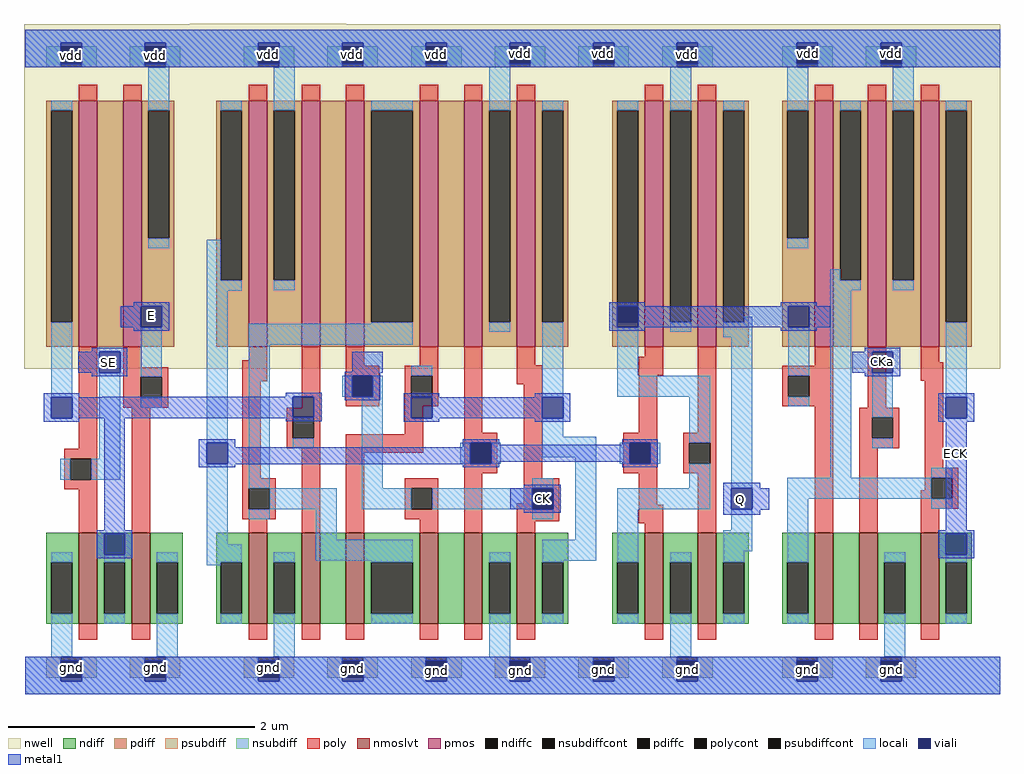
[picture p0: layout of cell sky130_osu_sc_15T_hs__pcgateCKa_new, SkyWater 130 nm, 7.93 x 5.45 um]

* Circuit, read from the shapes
.subckt sky130_osu_sc_15T_hs__pcgateCKa_new SE E CK ECK Q CKa
XM1 n1 SE gnd gnd sky130_fd_pr__nfet_01v8_lvt w=0.74 l=0.15
XM2 gnd E n1 gnd sky130_fd_pr__nfet_01v8_lvt w=0.74 l=0.15
XM3 gnd n2 n3 gnd sky130_fd_pr__nfet_01v8_lvt w=0.74 l=0.15
XM4 n4 n1 gnd gnd sky130_fd_pr__nfet_01v8_lvt w=0.74 l=0.15
XM5 n2 n5 n4 gnd sky130_fd_pr__nfet_01v8_lvt w=0.74 l=0.15
XM6 n6 CK n2 gnd sky130_fd_pr__nfet_01v8_lvt w=0.74 l=0.15
XM7 gnd n3 n6 gnd sky130_fd_pr__nfet_01v8_lvt w=0.74 l=0.15
XM8 n5 CK gnd gnd sky130_fd_pr__nfet_01v8_lvt w=0.74 l=0.15
XM9 gnd n3 n7 gnd sky130_fd_pr__nfet_01v8_lvt w=0.74 l=0.15
XM10 Q n7 gnd gnd sky130_fd_pr__nfet_01v8_lvt w=0.74 l=0.15
XM11 n8 n7 n9 gnd sky130_fd_pr__nfet_01v8_lvt w=0.74 l=0.15
XM12 gnd CKa n8 gnd sky130_fd_pr__nfet_01v8_lvt w=0.74 l=0.15
XM13 ECK n9 gnd gnd sky130_fd_pr__nfet_01v8_lvt w=0.74 l=0.15
XM14 n10 SE n1 vdd sky130_fd_pr__pfet_01v8 w=2 l=0.15
XM15 vdd E n10 vdd sky130_fd_pr__pfet_01v8 w=2 l=0.15
XM16 vdd n2 n3 vdd sky130_fd_pr__pfet_01v8 w=2 l=0.15
XM17 n11 n1 vdd vdd sky130_fd_pr__pfet_01v8 w=2 l=0.15
XM18 n2 CK n11 vdd sky130_fd_pr__pfet_01v8 w=2 l=0.15
XM19 n12 n5 n2 vdd sky130_fd_pr__pfet_01v8 w=2 l=0.15
XM20 vdd n3 n12 vdd sky130_fd_pr__pfet_01v8 w=2 l=0.15
XM21 n5 CK vdd vdd sky130_fd_pr__pfet_01v8 w=2 l=0.15
XM22 vdd n3 n7 vdd sky130_fd_pr__pfet_01v8 w=2 l=0.15
XM23 Q n7 vdd vdd sky130_fd_pr__pfet_01v8 w=2 l=0.15
XM24 n9 n7 vdd vdd sky130_fd_pr__pfet_01v8 w=2 l=0.15
XM25 vdd CKa n9 vdd sky130_fd_pr__pfet_01v8 w=2 l=0.15
XM26 ECK n9 vdd vdd sky130_fd_pr__pfet_01v8 w=2 l=0.15
.ends

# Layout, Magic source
magic
tech sky130A
magscale 1 2
<< nwell >>
rect 0 1089 255 1090
rect -269 529 1317 1089
<< nmoslvt >>
rect -180 115 -150 263
rect -94 115 -64 263
rect 96 115 126 263
rect 182 115 212 263
rect 254 115 284 263
rect 374 115 404 263
rect 446 115 476 263
rect 532 115 562 263
rect 740 115 770 263
rect 826 115 856 263
rect 1016 115 1046 263
rect 1088 115 1118 263
rect 1188 115 1218 263
<< pmos >>
rect -180 565 -150 965
rect -108 565 -78 965
rect 96 565 126 965
rect 182 565 212 965
rect 254 565 284 965
rect 374 565 404 965
rect 446 565 476 965
rect 532 565 562 965
rect 740 565 770 965
rect 826 565 856 965
rect 1016 565 1046 965
rect 1102 565 1132 965
rect 1188 565 1218 965
<< ndiff >>
rect -233 215 -180 263
rect -233 131 -225 215
rect -191 131 -180 215
rect -233 115 -180 131
rect -150 215 -94 263
rect -150 131 -139 215
rect -105 131 -94 215
rect -150 115 -94 131
rect -64 215 -11 263
rect -64 131 -53 215
rect -19 131 -11 215
rect -64 115 -11 131
rect 43 215 96 263
rect 43 131 51 215
rect 85 131 96 215
rect 43 115 96 131
rect 126 215 182 263
rect 126 131 137 215
rect 171 131 182 215
rect 126 115 182 131
rect 212 115 254 263
rect 284 215 374 263
rect 284 131 295 215
rect 363 131 374 215
rect 284 115 374 131
rect 404 115 446 263
rect 476 215 532 263
rect 476 131 487 215
rect 521 131 532 215
rect 476 115 532 131
rect 562 215 615 263
rect 562 131 573 215
rect 607 131 615 215
rect 562 115 615 131
rect 687 215 740 263
rect 687 131 695 215
rect 729 131 740 215
rect 687 115 740 131
rect 770 215 826 263
rect 770 131 781 215
rect 815 131 826 215
rect 770 115 826 131
rect 856 215 909 263
rect 856 131 867 215
rect 901 131 909 215
rect 856 115 909 131
rect 963 215 1016 263
rect 963 131 971 215
rect 1005 131 1016 215
rect 963 115 1016 131
rect 1046 115 1088 263
rect 1118 215 1188 263
rect 1118 131 1129 215
rect 1163 131 1188 215
rect 1118 115 1188 131
rect 1218 215 1271 263
rect 1218 131 1229 215
rect 1263 131 1271 215
rect 1218 115 1271 131
<< pdiff >>
rect -233 949 -180 965
rect -233 605 -225 949
rect -191 605 -180 949
rect -233 565 -180 605
rect -150 565 -108 965
rect -78 949 -25 965
rect -78 741 -67 949
rect -33 741 -25 949
rect -78 565 -25 741
rect 43 949 96 965
rect 43 673 51 949
rect 85 673 96 949
rect 43 565 96 673
rect 126 949 182 965
rect 126 673 137 949
rect 171 673 182 949
rect 126 565 182 673
rect 212 565 254 965
rect 284 949 374 965
rect 284 605 295 949
rect 363 605 374 949
rect 284 565 374 605
rect 404 565 446 965
rect 476 949 532 965
rect 476 605 487 949
rect 521 605 532 949
rect 476 565 532 605
rect 562 949 615 965
rect 562 605 573 949
rect 607 605 615 949
rect 562 565 615 605
rect 687 949 740 965
rect 687 605 695 949
rect 729 605 740 949
rect 687 565 740 605
rect 770 949 826 965
rect 770 605 781 949
rect 815 605 826 949
rect 770 565 826 605
rect 856 949 909 965
rect 856 605 867 949
rect 901 605 909 949
rect 856 565 909 605
rect 963 949 1016 965
rect 963 741 971 949
rect 1005 741 1016 949
rect 963 565 1016 741
rect 1046 949 1102 965
rect 1046 673 1057 949
rect 1091 673 1102 949
rect 1046 565 1102 673
rect 1132 949 1188 965
rect 1132 673 1143 949
rect 1177 673 1188 949
rect 1132 565 1188 673
rect 1218 949 1271 965
rect 1218 605 1229 949
rect 1263 605 1271 949
rect 1218 565 1271 605
<< ndiffc >>
rect -225 131 -191 215
rect -139 131 -105 215
rect -53 131 -19 215
rect 51 131 85 215
rect 137 131 171 215
rect 295 131 363 215
rect 487 131 521 215
rect 573 131 607 215
rect 695 131 729 215
rect 781 131 815 215
rect 867 131 901 215
rect 971 131 1005 215
rect 1129 131 1163 215
rect 1229 131 1263 215
<< pdiffc >>
rect -225 605 -191 949
rect -67 741 -33 949
rect 51 673 85 949
rect 137 673 171 949
rect 295 605 363 949
rect 487 605 521 949
rect 573 605 607 949
rect 695 605 729 949
rect 781 605 815 949
rect 867 605 901 949
rect 971 741 1005 949
rect 1057 673 1091 949
rect 1143 673 1177 949
rect 1229 605 1263 949
<< psubdiff >>
rect -233 27 -209 61
rect -175 27 -151 61
rect -97 27 -73 61
rect -39 27 -15 61
rect 88 27 112 61
rect 146 27 170 61
rect 224 27 248 61
rect 282 27 306 61
rect 360 27 384 61
rect 418 27 442 61
rect 496 27 520 61
rect 554 27 578 61
rect 632 27 656 61
rect 690 27 714 61
rect 768 27 792 61
rect 826 27 850 61
rect 963 27 987 61
rect 1021 27 1045 61
rect 1099 27 1123 61
rect 1157 27 1181 61
<< nsubdiff >>
rect -233 1019 -209 1053
rect -175 1019 -151 1053
rect -97 1019 -73 1053
rect -39 1019 -15 1053
rect 88 1019 112 1053
rect 146 1019 170 1053
rect 224 1019 248 1053
rect 282 1019 306 1053
rect 360 1019 384 1053
rect 418 1019 442 1053
rect 496 1019 520 1053
rect 554 1019 578 1053
rect 632 1019 656 1053
rect 690 1019 714 1053
rect 768 1019 792 1053
rect 826 1019 850 1053
rect 963 1019 987 1053
rect 1021 1019 1045 1053
rect 1099 1019 1123 1053
rect 1157 1019 1181 1053
<< psubdiffcont >>
rect -209 27 -175 61
rect -73 27 -39 61
rect 112 27 146 61
rect 248 27 282 61
rect 384 27 418 61
rect 520 27 554 61
rect 656 27 690 61
rect 792 27 826 61
rect 987 27 1021 61
rect 1123 27 1157 61
<< nsubdiffcont >>
rect -209 1019 -175 1053
rect -73 1019 -39 1053
rect 112 1019 146 1053
rect 248 1019 282 1053
rect 384 1019 418 1053
rect 520 1019 554 1053
rect 656 1019 690 1053
rect 792 1019 826 1053
rect 987 1019 1021 1053
rect 1123 1019 1157 1053
<< poly >>
rect -180 965 -150 991
rect -108 965 -78 991
rect 96 965 126 991
rect 182 965 212 991
rect 254 965 284 991
rect 374 965 404 991
rect 446 965 476 991
rect 532 965 562 991
rect 740 965 770 991
rect 826 965 856 991
rect 1016 965 1046 991
rect 1102 965 1132 991
rect 1188 965 1218 991
rect -180 399 -150 565
rect -108 532 -78 565
rect 96 543 126 565
rect -108 516 -35 532
rect -108 482 -79 516
rect -45 482 -35 516
rect -108 466 -35 482
rect 86 509 126 543
rect -204 383 -150 399
rect -204 349 -194 383
rect -160 349 -150 383
rect -204 333 -150 349
rect -180 263 -150 333
rect -94 263 -64 466
rect 86 351 116 509
rect 182 466 212 565
rect 254 534 284 565
rect 374 534 404 565
rect 254 518 308 534
rect 254 484 264 518
rect 298 484 308 518
rect 254 468 308 484
rect 350 518 404 534
rect 350 484 360 518
rect 394 484 404 518
rect 350 468 404 484
rect 158 450 212 466
rect 158 416 168 450
rect 202 416 212 450
rect 350 423 380 468
rect 158 400 212 416
rect 86 335 140 351
rect 86 301 96 335
rect 130 301 140 335
rect 86 285 140 301
rect 96 263 126 285
rect 182 263 212 400
rect 254 393 380 423
rect 446 425 476 565
rect 532 535 562 565
rect 740 549 770 565
rect 532 504 573 535
rect 446 409 500 425
rect 254 263 284 393
rect 446 375 456 409
rect 490 375 500 409
rect 446 359 500 375
rect 350 335 404 351
rect 350 301 360 335
rect 394 301 404 335
rect 350 285 404 301
rect 374 263 404 285
rect 446 263 476 359
rect 543 351 573 504
rect 730 519 770 549
rect 730 425 760 519
rect 826 425 856 565
rect 1016 534 1046 565
rect 963 518 1046 534
rect 963 484 973 518
rect 1007 484 1046 518
rect 963 468 1046 484
rect 705 409 760 425
rect 705 375 715 409
rect 749 375 760 409
rect 705 359 760 375
rect 802 409 856 425
rect 802 375 812 409
rect 846 375 856 409
rect 802 359 856 375
rect 543 335 601 351
rect 543 311 557 335
rect 532 301 557 311
rect 591 301 601 335
rect 532 281 601 301
rect 730 308 760 359
rect 532 263 562 281
rect 730 278 770 308
rect 740 263 770 278
rect 826 263 856 359
rect 1016 263 1046 468
rect 1102 466 1132 565
rect 1188 540 1218 565
rect 1188 510 1225 540
rect 1088 450 1153 466
rect 1088 416 1109 450
rect 1143 416 1153 450
rect 1088 400 1153 416
rect 1088 263 1118 400
rect 1195 368 1225 510
rect 1195 352 1249 368
rect 1195 332 1205 352
rect 1188 318 1205 332
rect 1239 318 1249 352
rect 1188 302 1249 318
rect 1188 263 1218 302
rect -180 89 -150 115
rect -94 89 -64 115
rect 96 89 126 115
rect 182 89 212 115
rect 254 89 284 115
rect 374 89 404 115
rect 446 89 476 115
rect 532 89 562 115
rect 740 89 770 115
rect 826 89 856 115
rect 1016 89 1046 115
rect 1088 89 1118 115
rect 1188 89 1218 115
<< polycont >>
rect -79 482 -45 516
rect -194 349 -160 383
rect 264 484 298 518
rect 360 484 394 518
rect 168 416 202 450
rect 96 301 130 335
rect 456 375 490 409
rect 360 301 394 335
rect 973 484 1007 518
rect 715 375 749 409
rect 812 375 846 409
rect 557 301 591 335
rect 1109 416 1143 450
rect 1205 318 1239 352
<< locali >>
rect -267 1059 1317 1080
rect -267 1019 -209 1059
rect -175 1019 -73 1059
rect -39 1019 112 1059
rect 146 1019 248 1059
rect 282 1019 384 1059
rect 418 1019 520 1059
rect 554 1019 656 1059
rect 690 1019 792 1059
rect 826 1019 987 1059
rect 1021 1019 1123 1059
rect 1157 1019 1317 1059
rect -225 949 -191 965
rect -67 949 -33 1019
rect -67 725 -33 741
rect 51 949 85 965
rect 28 673 51 739
rect 28 656 85 673
rect 137 949 171 1019
rect 137 657 171 673
rect 295 949 363 965
rect -225 483 -191 605
rect -147 383 -113 523
rect -79 516 -45 597
rect -79 466 -45 482
rect -210 349 -194 383
rect -160 349 -113 383
rect 28 409 62 656
rect 295 602 363 605
rect -225 215 -191 231
rect -225 61 -191 131
rect 28 244 62 375
rect 96 568 363 602
rect 487 949 521 1019
rect 487 589 521 605
rect 573 949 607 965
rect 96 335 130 568
rect 360 518 394 534
rect 248 484 264 518
rect 298 484 314 518
rect 168 400 202 416
rect 280 335 314 484
rect 360 483 394 484
rect 573 483 607 605
rect 695 949 729 965
rect 695 518 729 597
rect 781 949 815 1019
rect 781 589 815 605
rect 867 949 901 965
rect 971 949 1005 1019
rect 971 725 1005 741
rect 1057 949 1091 965
rect 1041 673 1057 691
rect 1041 657 1091 673
rect 1143 949 1177 1019
rect 1143 657 1177 673
rect 1229 949 1263 965
rect 901 605 914 614
rect 867 580 914 605
rect 695 484 846 518
rect 573 419 607 449
rect 440 375 456 409
rect 490 375 506 409
rect 573 385 661 419
rect 812 409 846 484
rect 557 335 591 351
rect 130 301 239 335
rect 280 301 360 335
rect 394 301 557 335
rect 96 285 130 301
rect 205 251 239 301
rect 557 285 591 301
rect 627 251 661 385
rect 699 375 715 409
rect 749 375 765 409
rect 812 335 846 375
rect -139 215 -105 227
rect -139 115 -105 131
rect -53 215 -19 231
rect 28 215 85 244
rect 28 210 51 215
rect -53 61 -19 131
rect 51 115 85 131
rect 137 215 171 231
rect 205 217 363 251
rect 137 61 171 131
rect 295 215 363 217
rect 295 115 363 131
rect 487 215 521 231
rect 487 61 521 131
rect 573 217 661 251
rect 695 301 846 335
rect 880 335 914 580
rect 973 518 1007 597
rect 973 468 1007 484
rect 1041 352 1075 657
rect 1109 450 1143 523
rect 1229 483 1263 605
rect 1109 400 1143 416
rect 1205 352 1239 368
rect 573 215 607 217
rect 573 115 607 131
rect 695 215 729 301
rect 880 267 914 301
rect 867 233 914 267
rect 971 318 1205 352
rect 695 115 729 131
rect 781 215 815 231
rect 781 61 815 131
rect 867 215 901 233
rect 867 115 901 131
rect 971 215 1005 318
rect 1205 302 1239 318
rect 971 115 1005 131
rect 1129 215 1163 231
rect 1129 61 1163 131
rect 1229 215 1263 227
rect 1229 115 1263 131
rect -267 21 -209 61
rect -175 21 -73 61
rect -39 21 112 61
rect 146 21 248 61
rect 282 21 384 61
rect 418 21 520 61
rect 554 21 656 61
rect 690 21 792 61
rect 826 21 987 61
rect 1021 21 1123 61
rect 1157 21 1317 61
rect -267 0 1317 21
<< viali >>
rect -209 1053 -175 1059
rect -209 1025 -175 1053
rect -73 1053 -39 1059
rect -73 1025 -39 1053
rect 112 1053 146 1059
rect 112 1025 146 1053
rect 248 1053 282 1059
rect 248 1025 282 1053
rect 384 1053 418 1059
rect 384 1025 418 1053
rect 520 1053 554 1059
rect 520 1025 554 1053
rect 656 1053 690 1059
rect 656 1025 690 1053
rect 792 1053 826 1059
rect 792 1025 826 1053
rect 987 1053 1021 1059
rect 987 1025 1021 1053
rect 1123 1053 1157 1059
rect 1123 1025 1157 1053
rect -79 597 -45 631
rect -225 449 -191 483
rect -147 523 -113 557
rect 28 375 62 409
rect -139 227 -105 261
rect 264 484 298 518
rect 168 450 202 484
rect 360 449 394 483
rect 695 605 729 631
rect 695 597 729 605
rect 573 449 607 483
rect 456 375 490 409
rect 557 301 591 335
rect 715 375 749 409
rect 973 597 1007 631
rect 1109 523 1143 557
rect 1229 449 1263 483
rect 880 301 914 335
rect 1229 227 1263 261
rect -209 27 -175 55
rect -209 21 -175 27
rect -73 27 -39 55
rect -73 21 -39 27
rect 112 27 146 55
rect 112 21 146 27
rect 248 27 282 55
rect 248 21 282 27
rect 384 27 418 55
rect 384 21 418 27
rect 520 27 554 55
rect 520 21 554 27
rect 656 27 690 55
rect 656 21 690 27
rect 792 27 826 55
rect 792 21 826 27
rect 987 27 1021 55
rect 987 21 1021 27
rect 1123 27 1157 55
rect 1123 21 1157 27
<< metal1 >>
rect -267 1059 1317 1080
rect -267 1025 -209 1059
rect -175 1025 -73 1059
rect -39 1025 112 1059
rect 146 1025 248 1059
rect 282 1025 384 1059
rect 418 1025 520 1059
rect 554 1025 656 1059
rect 690 1025 792 1059
rect 826 1025 987 1059
rect 1021 1025 1123 1059
rect 1157 1025 1317 1059
rect -267 1019 1317 1025
rect -91 631 -33 637
rect -112 597 -79 631
rect -45 597 -33 631
rect -91 591 -33 597
rect 682 631 740 637
rect 961 631 1019 637
rect 682 597 695 631
rect 729 597 973 631
rect 1007 597 1041 631
rect 682 591 740 597
rect 961 591 1019 597
rect -159 557 -101 563
rect 1097 557 1155 563
rect -181 523 -147 557
rect -113 523 -101 557
rect 264 524 314 557
rect -159 517 -101 523
rect 252 523 314 524
rect 1077 523 1109 557
rect 1143 523 1155 557
rect 252 518 310 523
rect -237 483 -179 489
rect 156 484 215 490
rect -142 483 168 484
rect -237 449 -225 483
rect -191 450 168 483
rect 202 450 215 484
rect 252 484 264 518
rect 298 484 310 518
rect 1097 517 1155 523
rect 252 478 310 484
rect 348 483 406 489
rect 561 483 619 489
rect -191 449 215 450
rect -237 443 -179 449
rect -139 267 -105 449
rect 156 444 215 449
rect 348 449 360 483
rect 394 449 573 483
rect 607 449 619 483
rect 348 443 406 449
rect 561 443 619 449
rect 1217 483 1275 489
rect 1217 449 1229 483
rect 1263 449 1275 483
rect 1217 443 1275 449
rect 15 409 74 415
rect 15 375 28 409
rect 62 402 74 409
rect 444 409 503 415
rect 444 402 456 409
rect 62 375 456 402
rect 490 406 503 409
rect 703 409 761 415
rect 703 406 715 409
rect 490 378 715 406
rect 490 375 503 378
rect 15 374 503 375
rect 15 369 74 374
rect 444 369 503 374
rect 703 375 715 378
rect 749 375 761 409
rect 703 369 761 375
rect 543 335 603 341
rect 521 301 557 335
rect 591 301 603 335
rect 543 295 603 301
rect 867 335 927 344
rect 867 301 880 335
rect 914 301 942 335
rect 867 300 942 301
rect 867 292 927 300
rect 1229 267 1263 443
rect -151 261 -93 267
rect -151 227 -139 261
rect -105 227 -93 261
rect -151 221 -93 227
rect 1217 261 1275 267
rect 1217 227 1229 261
rect 1263 227 1275 261
rect 1217 221 1275 227
rect -267 55 1317 61
rect -267 21 -209 55
rect -175 21 -73 55
rect -39 21 112 55
rect 146 21 248 55
rect 282 21 384 55
rect 418 21 520 55
rect 554 21 656 55
rect 690 21 792 55
rect 826 21 987 55
rect 1021 21 1123 55
rect 1157 21 1317 55
rect -267 0 1317 21
<< labels >>
rlabel viali -131 540 -131 540 1 SE
port 1 n
rlabel viali -62 615 -62 615 1 E
port 2 n
rlabel viali 574 318 574 318 1 CK
port 3 n
rlabel metal1 1245 391 1245 391 1 ECK
port 4 n
rlabel metal1 895 314 895 318 1 Q
port 5 n
rlabel viali 1126 541 1126 541 1 CKa
port 6 n
rlabel viali -192 1038 -192 1038 1 vdd
rlabel viali -55 1039 -55 1039 1 vdd
rlabel viali 129 1040 129 1040 1 vdd
rlabel viali 265 1040 265 1040 1 vdd
rlabel viali 401 1040 401 1040 1 vdd
rlabel viali 538 1042 538 1042 1 vdd
rlabel viali 673 1041 673 1041 1 vdd
rlabel viali 809 1040 809 1040 1 vdd
rlabel viali 1005 1041 1005 1041 1 vdd
rlabel viali 1141 1041 1141 1041 1 vdd
rlabel viali -192 44 -192 44 1 gnd
rlabel viali -56 44 -56 44 1 gnd
rlabel viali 129 44 129 44 1 gnd
rlabel viali 264 42 264 42 1 gnd
rlabel viali 401 39 401 39 1 gnd
rlabel viali 537 39 537 39 1 gnd
rlabel viali 673 40 673 40 1 gnd
rlabel viali 809 40 809 40 1 gnd
rlabel viali 1004 40 1004 40 1 gnd
rlabel viali 1140 40 1140 40 1 gnd
<< end >>
